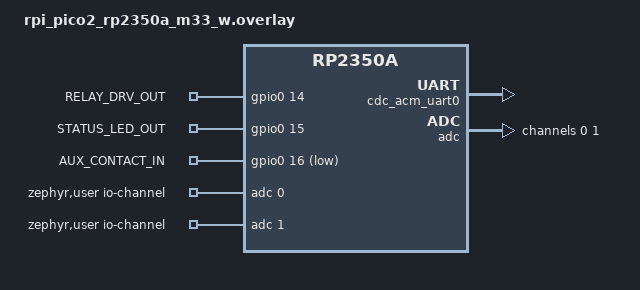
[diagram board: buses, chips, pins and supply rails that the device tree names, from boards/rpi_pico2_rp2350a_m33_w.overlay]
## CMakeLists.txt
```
cmake_minimum_required(VERSION 3.20.0)
find_package(Zephyr REQUIRED HINTS $ENV{ZEPHYR_BASE})
project(gridguard_firmware C)
target_sources(app PRIVATE
  src/main.c src/hal_adc_relay.c src/nvs_store.c src/usb_comms.c
  lib/gridguard_core/src/gg_plant.c lib/gridguard_core/src/gg_metrology.c
  lib/gridguard_core/src/gg_protection.c lib/gridguard_core/src/gg_relay_fsm.c
  lib/gridguard_core/src/gg_nilm.c lib/gridguard_core/src/gg_protocol.c)
target_include_directories(app PRIVATE lib/gridguard_core/include src)
```

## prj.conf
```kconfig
CONFIG_FPU=y
CONFIG_FPU_SHARING=y
CONFIG_PICOLIBC=y
CONFIG_PICOLIBC_IO_FLOAT=y
CONFIG_USB_DEVICE_STACK_NEXT=y
CONFIG_USBD_CDC_ACM_CLASS=y
CONFIG_SERIAL=y
CONFIG_UART_INTERRUPT_DRIVEN=y
CONFIG_UART_USE_RUNTIME_CONFIGURE=y
CONFIG_UART_LINE_CTRL=y
CONFIG_RING_BUFFER=y
CONFIG_GPIO=y
CONFIG_ADC=y
CONFIG_FLASH=y
CONFIG_FLASH_MAP=y
CONFIG_FLASH_PAGE_LAYOUT=y
CONFIG_NVS=y
CONFIG_CRC=y
CONFIG_THREAD_NAME=y
CONFIG_THREAD_STACK_INFO=y
CONFIG_INIT_STACKS=y
CONFIG_MAIN_STACK_SIZE=4096
CONFIG_SYSTEM_WORKQUEUE_STACK_SIZE=2048
CONFIG_CONSOLE=n
CONFIG_UART_CONSOLE=n
CONFIG_LOG=n
CONFIG_HEAP_MEM_POOL_SIZE=4096
CONFIG_CDC_ACM_SERIAL_INITIALIZE_AT_BOOT=n
```

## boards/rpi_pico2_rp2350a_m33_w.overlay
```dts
/ {
    chosen {
        
        
    };

    gridguard_gpios {
        compatible = "gpio-keys";
        relay_drv: relay_drv {
            gpios = <&gpio0 14 GPIO_ACTIVE_HIGH>;
            label = "RELAY_DRV_OUT";
        };
        status_led: status_led {
            gpios = <&gpio0 15 GPIO_ACTIVE_HIGH>;
            label = "STATUS_LED_OUT";
        };
        aux_contact: aux_contact {
            gpios = <&gpio0 16 (GPIO_PULL_UP | GPIO_ACTIVE_LOW)>;
            label = "AUX_CONTACT_IN";
        };
    };

    zephyr,user {
        io-channels = <&adc 0>, <&adc 1>;
    };
};

&zephyr_udc0 {
    cdc_acm_uart0: cdc_acm_uart0 {
        compatible = "zephyr,cdc-acm-uart";
    };
};

&adc {
    status = "okay";
    #address-cells = <1>;
    #size-cells = <0>;

    channel@0 {
        reg = <0>;
        zephyr,input-positive = <26>;
        zephyr,gain = "ADC_GAIN_1";
        zephyr,reference = "ADC_REF_INTERNAL";
        zephyr,acquisition-time = <ADC_ACQ_TIME_DEFAULT>;
        zephyr,resolution = <12>;
    };
    channel@1 {
        reg = <1>;
        zephyr,input-positive = <27>;
        zephyr,gain = "ADC_GAIN_1";
        zephyr,reference = "ADC_REF_INTERNAL";
        zephyr,acquisition-time = <ADC_ACQ_TIME_DEFAULT>;
        zephyr,resolution = <12>;
    };
};

&flash0 {
    partitions {
        compatible = "fixed-partitions";
        #address-cells = <1>;
        #size-cells = <1>;
        storage_partition: partition@3f0000 {
            label = "storage";
            reg = <0x003f0000 0x00010000>;
        };
    };
};
```

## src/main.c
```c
#include "gg_app.h"
#include <zephyr/kernel.h>
#include <zephyr/logging/log.h>
#include <zephyr/sys/atomic.h>
#include <math.h>
#include <string.h>
LOG_MODULE_REGISTER(gridguard,LOG_LEVEL_INF);

gg_app_state_t gg_app;
K_SEM_DEFINE(dsp_tick,0,1);K_SEM_DEFINE(relay_tick,0,1);
K_MSGQ_DEFINE(metrics_q,sizeof(gg_metrics_t),8,4);
typedef struct {gg_fault_code_t fault;gg_relay_state_t result;float value,threshold,source,load;uint32_t timestamp;} fault_event_t;
K_MSGQ_DEFINE(fault_q,sizeof(fault_event_t),8,4);
static struct k_timer cycle_timer;
static K_THREAD_STACK_DEFINE(dsp_stack,4096);static struct k_thread dsp_thread;
static K_THREAD_STACK_DEFINE(relay_stack,4096);static struct k_thread relay_thread;
static K_THREAD_STACK_DEFINE(nilm_stack,4096);static struct k_thread nilm_thread;
static K_THREAD_STACK_DEFINE(comms_stack,4096);static struct k_thread comms_thread;
static K_THREAD_STACK_DEFINE(nvs_stack,4096);static struct k_thread nvs_thread;
static void timer_expiry(struct k_timer *timer){ARG_UNUSED(timer);k_sem_give(&dsp_tick);k_sem_give(&relay_tick);}
static void dsp_entry(void *a,void *b,void *c){ARG_UNUSED(a);ARG_UNUSED(b);ARG_UNUSED(c);gg_adc_sample_t window[64];gg_metrics_t m;unsigned n;int rc;uint32_t start,elapsed;static unsigned stale_windows;
 while(1){k_sem_take(&dsp_tick,K_FOREVER);start=k_cycle_get_32();for(n=0;n<64;n++)window[n]=gg_plant_step(&gg_app.plant,NULL,NULL);memcpy(gg_app.waveform,window,sizeof(window));
  rc=gg_metrology_compute(window,&m);if(rc)continue;gg_app.metrics=m;gg_app.timestamp_ms=k_uptime_get_32();
  {unsigned clipped=0;int stale=1;for(n=0;n<64;n++){if(window[n].voltage_code==0||window[n].voltage_code==4095||window[n].current_code==0||window[n].current_code==4095)clipped++;if(n&&(window[n].voltage_code!=window[0].voltage_code||window[n].current_code!=window[0].current_code))stale=0;}stale_windows=stale?stale_windows+1:0;gg_app.fault=gg_protection_step(&gg_app.protection,&m,clipped<=8&&stale_windows<5);}
  if(gg_app.fault!=FAULT_NONE&&gg_app.relay.state==NORMAL_CLOSED){gg_app.trip_started_cycle=k_cycle_get_32();gg_relay_request_trip(&gg_app.relay,1);fault_event_t e={gg_app.fault,gg_app.relay.state,m.i_rms,12,0,0,gg_app.timestamp_ms};if(k_msgq_put(&fault_q,&e,K_NO_WAIT)!=0)gg_app.dropped_frames++;}
  if(k_msgq_put(&metrics_q,&m,K_NO_WAIT)!=0)gg_app.dropped_frames++;
  if(gg_app.relay.state==TRIP_FAILURE||gg_app.relay.state==CLOSE_FAILURE)gg_hal_status_led(1);
  elapsed=k_cycle_get_32()-start;gg_app.dsp_exec_us=k_cyc_to_us_floor32(elapsed);if(gg_app.dsp_exec_us>gg_app.max_dsp_us)gg_app.max_dsp_us=gg_app.dsp_exec_us;k_msleep(5);
 }}
static void relay_entry(void *a,void *b,void *c){ARG_UNUSED(a);ARG_UNUSED(b);ARG_UNUSED(c);float src=0,load=0;int aux=1,rc;gg_relay_state_t old;
 while(1){k_sem_take(&relay_tick,K_FOREVER);old=gg_app.relay.state;
  if(gg_app.feedback_mode<=FEEDBACK_HARDWARE_LOWSIDE){rc=gg_hal_feedback(&src,&load,&aux);if(rc){src=0;load=0;}}
  else {src=gg_app.feedback_mode==FEEDBACK_VIRTUAL_NO_SRC?0:12;
   if(gg_app.feedback_mode==FEEDBACK_VIRTUAL_WELDED)load=12;else load=gg_app.relay.coil_cmd?12:0;aux=1;}
  gg_relay_step(&gg_app.relay,20,src,load,aux);
  gg_hal_set_coil(gg_app.relay.coil_cmd);
  if(old!=gg_app.relay.state){if(gg_app.trip_started_cycle&&(gg_app.relay.state==PHYSICAL_DISCONNECT_CONFIRMED||gg_app.relay.state==TRIP_FAILURE||gg_app.relay.state==DISCONNECT_UNVERIFIED)){gg_app.trip_latency_us=k_cyc_to_us_floor32(k_cycle_get_32()-gg_app.trip_started_cycle);gg_app.trip_started_cycle=0;}if(gg_app.fault!=FAULT_NONE||gg_app.relay.state==PHYSICAL_DISCONNECT_CONFIRMED||gg_app.relay.state==TRIP_FAILURE){fault_event_t e={gg_app.fault,gg_app.relay.state,0,0,src,load,k_uptime_get_32()};(void)k_msgq_put(&fault_q,&e,K_NO_WAIT);}gg_comms_send_protection();}
 }}
static void nilm_entry(void *a,void *b,void *c){ARG_UNUSED(a);ARG_UNUSED(b);ARG_UNUSED(c);gg_cusum_t cusum;gg_metrics_t m; static gg_metrics_t history[10],capture[25];unsigned history_count=0,history_pos=0,capture_count=0,j;int event,was_capture;gg_cusum_init(&cusum);gg_nilm_tracker_init(&gg_app.nilm);memset(history,0,sizeof(history));
 while(1){if(k_msgq_get(&metrics_q,&m,K_FOREVER)!=0)continue;was_capture=cusum.capture>0;if(was_capture&&capture_count<25)capture[capture_count++]=m;event=gg_cusum_step(&cusum,m.p_w,m.q1_var);
  if(cusum.capture==25&&!was_capture)capture_count=0;
  if(event){gg_metrics_t pre={0},post={0};float features[10],peak=0,di1,dp,dq,ds;unsigned count=history_count<10?history_count:10;
   for(j=0;j<count;j++){const gg_metrics_t *x=&history[(history_pos+10-count+j)%10];pre.p_w+=x->p_w;pre.q1_var+=x->q1_var;pre.s_va+=x->s_va;pre.i_rms+=x->i_rms;pre.thd_i_pct+=x->thd_i_pct;for(unsigned h=0;h<6;h++)pre.harm_i_rms[h]+=x->harm_i_rms[h];}
   if(count){pre.p_w/=count;pre.q1_var/=count;pre.s_va/=count;pre.i_rms/=count;pre.thd_i_pct/=count;for(unsigned h=0;h<6;h++)pre.harm_i_rms[h]/=count;}
   {unsigned begin=event>0&&capture_count>8?capture_count-8:0;unsigned used=capture_count-begin;if(!used)used=1;for(j=0;j<capture_count&&j<15;j++){if(capture[j].i_rms>peak)peak=capture[j].i_rms;}for(j=begin;j<capture_count;j++){const gg_metrics_t *x=&capture[j];post.p_w+=x->p_w;post.q1_var+=x->q1_var;post.s_va+=x->s_va;post.i_rms+=x->i_rms;post.thd_i_pct+=x->thd_i_pct;for(unsigned h=0;h<6;h++)post.harm_i_rms[h]+=x->harm_i_rms[h];}post.p_w/=used;post.q1_var/=used;post.s_va/=used;post.i_rms/=used;post.thd_i_pct/=used;for(unsigned h=0;h<6;h++)post.harm_i_rms[h]/=used;}
   dp=post.p_w-pre.p_w;dq=post.q1_var-pre.q1_var;ds=post.s_va-pre.s_va;di1=post.harm_i_rms[0]-pre.harm_i_rms[0];features[0]=fabsf(dp);features[1]=dq;features[2]=fabsf(ds);features[3]=dp/fmaxf(hypotf(dp,dq),1);features[4]=(post.harm_i_rms[1]-pre.harm_i_rms[1])/fmaxf(di1,.05f);features[5]=(post.harm_i_rms[2]-pre.harm_i_rms[2])/fmaxf(di1,.05f);features[6]=(post.harm_i_rms[3]-pre.harm_i_rms[3])/fmaxf(di1,.05f);features[7]=((post.i_rms<0.05f?0.0f:post.thd_i_pct)-(pre.i_rms<0.05f?0.0f:pre.thd_i_pct))/100.0f;features[8]=fmaxf(peak-pre.i_rms,0)/fmaxf(fabsf(di1),.05f);features[9]=copysignf(fabsf(dq)/fmaxf(fabsf(dp),1),dq);
   if(event>0){gg_nilm_result_t r=gg_nilm_infer(features);gg_nilm_tracker_event(&gg_app.nilm,&r,1,fabsf(dp),.02f);}
   else {static const float pn[4]={1000.0f,75.0f,85.0f,250.0f},qn[4]={0.0f,57.0f,-18.0f,188.0f},i3n[4]={0.0f,0.016f,0.27f,0.11f};float di3=pre.harm_i_rms[1]-post.harm_i_rms[1];unsigned best=4;float error=INFINITY;for(j=0;j<4;j++)if(gg_app.nilm.state[j]){float d=fabsf((-dp)-pn[j])/40.0f+fabsf((-dq)-qn[j])/25.0f+fabsf(di3-i3n[j])/0.06f;if(d<error&&d<6.0f){error=d;best=j;}}if(best<4){gg_nilm_result_t r={0};r.class_id=best;r.distance=0;r.probability[best]=1;gg_nilm_tracker_event(&gg_app.nilm,&r,0,0,.02f);}else gg_app.nilm.unknown_power_w=fmaxf(0,post.p_w);}
   capture_count=0;
  }
  if(!cusum.capture){history[history_pos]=m;history_pos=(history_pos+1)%10;if(history_count<10)history_count++;}
 }}
static void comms_entry(void *a,void *b,void *c){ARG_UNUSED(a);ARG_UNUSED(b);ARG_UNUSED(c);while(1){static unsigned led_cnt=0;if(++led_cnt%10==0)gg_hal_status_led((led_cnt/10)&1);gg_comms_rx_task();gg_comms_send_telemetry();k_sleep(K_MSEC(50));}}
static void nvs_entry(void *a,void *b,void *c){ARG_UNUSED(a);ARG_UNUSED(b);ARG_UNUSED(c);fault_event_t e;while(1){if(k_msgq_get(&fault_q,&e,K_FOREVER)==0)(void)gg_store_fault(e.fault,e.result,e.value,e.threshold,e.source,e.load,e.timestamp);}}
int main(void){int rc,hal_rc;
 memset(&gg_app,0,sizeof(gg_app));gg_app.feedback_mode=FEEDBACK_VIRTUAL_OK;gg_relay_init(&gg_app.relay,(gg_feedback_mode_t)gg_app.feedback_mode);gg_app.relay.aux_enabled=0;gg_protection_init(&gg_app.protection);gg_plant_init(&gg_app.plant,42);gg_metrology_init();
 hal_rc=gg_hal_init();if(hal_rc)LOG_ERR("HAL initialization failed: %d",hal_rc);gg_hal_set_coil(0);gg_hal_status_led(1);
 rc=gg_store_init();if(rc)LOG_ERR("NVS initialization failed: %d",rc);
 if(gg_app.relay.state==BOOT_SAFE_OPEN&&!gg_store_has_latched_fault())gg_relay_self_test_complete(&gg_app.relay,rc==0&&hal_rc==0);
 (void)gg_comms_init();
 k_sleep(K_MSEC(500));
 k_thread_create(&dsp_thread,dsp_stack,K_THREAD_STACK_SIZEOF(dsp_stack),dsp_entry,NULL,NULL,NULL,3,K_FP_REGS,K_NO_WAIT);k_thread_name_set(&dsp_thread,"gg_dsp_prot");
 k_thread_create(&relay_thread,relay_stack,K_THREAD_STACK_SIZEOF(relay_stack),relay_entry,NULL,NULL,NULL,3,K_FP_REGS,K_NO_WAIT);k_thread_name_set(&relay_thread,"gg_relay_ver");
 k_thread_create(&nilm_thread,nilm_stack,K_THREAD_STACK_SIZEOF(nilm_stack),nilm_entry,NULL,NULL,NULL,3,K_FP_REGS,K_NO_WAIT);k_thread_name_set(&nilm_thread,"gg_nilm");
 k_thread_create(&comms_thread,comms_stack,K_THREAD_STACK_SIZEOF(comms_stack),comms_entry,NULL,NULL,NULL,3,K_FP_REGS,K_NO_WAIT);k_thread_name_set(&comms_thread,"gg_comms");
 k_thread_create(&nvs_thread,nvs_stack,K_THREAD_STACK_SIZEOF(nvs_stack),nvs_entry,NULL,NULL,NULL,8,0,K_NO_WAIT);k_thread_name_set(&nvs_thread,"gg_nvs_log");
 k_timer_init(&cycle_timer,timer_expiry,NULL);k_timer_start(&cycle_timer,K_MSEC(20),K_MSEC(20));LOG_INF("GridGuard internal-plant mode ready");return 0;
}
```

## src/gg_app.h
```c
#ifndef GG_APP_H
#define GG_APP_H
#include <stdint.h>
#include "gg_metrology.h"
#include "gg_nilm.h"
#include "gg_protection.h"
#include "gg_relay_fsm.h"
#include "gg_plant.h"
typedef struct { gg_metrics_t metrics; gg_relay_fsm_t relay; gg_protection_t protection; gg_plant_t plant; gg_nilm_tracker_t nilm; gg_adc_sample_t waveform[64]; gg_fault_code_t fault; uint32_t timestamp_ms,dsp_exec_us,max_dsp_us,dropped_frames,trip_started_cycle,trip_latency_us; uint16_t seq; uint8_t feedback_mode; } gg_app_state_t;
extern gg_app_state_t gg_app;
int gg_hal_init(void);
int gg_hal_feedback(float *source_v,float *load_v,int *aux_high);
void gg_hal_set_coil(int enabled);
void gg_hal_status_led(int enabled);
int gg_store_init(void);
int gg_store_has_latched_fault(void);
void gg_store_send_faults(uint16_t start,uint16_t count);
uint16_t gg_store_record_count(void);
int gg_store_fault(gg_fault_code_t fault,gg_relay_state_t result,float trigger,float threshold,float source,float load,uint32_t ts);
int gg_comms_init(void);
void gg_comms_send_hello(void);
void gg_comms_send_telemetry(void);
void gg_comms_send_protection(void);
void gg_comms_send_waveform(void);
void gg_comms_send_health(void);
void gg_comms_send_fault_record(uint32_t id,uint32_t ts,uint8_t fault,uint8_t result,uint8_t coil,uint8_t aux,float trigger,float threshold,float source,float load,uint16_t verify,uint32_t crc);
void gg_comms_send_nilm(void);
void gg_comms_rx_task(void);
#endif
```

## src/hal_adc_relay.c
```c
#include "gg_app.h"
#include <zephyr/device.h>
#include <zephyr/devicetree.h>
#include <zephyr/drivers/adc.h>
#include <zephyr/drivers/gpio.h>
#include <zephyr/sys/util.h>

#define ADC_SOURCE_SPEC ADC_DT_SPEC_GET_BY_IDX(DT_PATH(zephyr_user), 0)
#define ADC_LOAD_SPEC ADC_DT_SPEC_GET_BY_IDX(DT_PATH(zephyr_user), 1)
static const struct gpio_dt_spec relay_gpio=GPIO_DT_SPEC_GET(DT_NODELABEL(relay_drv),gpios);
static const struct gpio_dt_spec status_gpio=GPIO_DT_SPEC_GET(DT_NODELABEL(status_led),gpios);
static const struct gpio_dt_spec aux_gpio=GPIO_DT_SPEC_GET(DT_NODELABEL(aux_contact),gpios);
static const struct adc_dt_spec source_adc=ADC_SOURCE_SPEC;
static const struct adc_dt_spec load_adc=ADC_LOAD_SPEC;
static int read_pin(const struct adc_dt_spec *spec,int32_t *mv){
 int16_t raw=0;int32_t converted;struct adc_sequence seq={.buffer=&raw,.buffer_size=sizeof(raw),.resolution=12};int rc;
 rc=adc_sequence_init_dt(spec,&seq);if(rc)return rc;rc=adc_read(spec->dev,&seq);if(rc)return rc;
 converted=raw;rc=adc_raw_to_millivolts_dt(spec,&converted);if(rc<0)return rc;*mv=converted;return 0;
}
int gg_hal_init(void){int rc;
 if(!gpio_is_ready_dt(&relay_gpio)||!gpio_is_ready_dt(&status_gpio)||!gpio_is_ready_dt(&aux_gpio))return -ENODEV;
 rc=gpio_pin_configure_dt(&relay_gpio,GPIO_OUTPUT_INACTIVE);if(rc)return rc;
 rc=gpio_pin_configure_dt(&status_gpio,GPIO_OUTPUT_INACTIVE);if(rc)return rc;
 rc=gpio_pin_configure_dt(&aux_gpio,GPIO_INPUT);if(rc)return rc;
 if(!adc_is_ready_dt(&source_adc)||!adc_is_ready_dt(&load_adc))return -ENODEV;
 rc=adc_channel_setup_dt(&source_adc);if(rc)return rc;return adc_channel_setup_dt(&load_adc);
}
int gg_hal_feedback(float *source,float *load,int *aux_high){int32_t s,l,aux,rc;
 rc=read_pin(&source_adc,&s);if(rc)return rc;rc=read_pin(&load_adc,&l);if(rc)return rc;
 *source=(float)s*4.3f/1000.0f;*load=(float)l*4.3f/1000.0f;
 if(gg_app.feedback_mode==FEEDBACK_HARDWARE_LOWSIDE)*load=*source-*load;
 aux=gpio_pin_get_raw(aux_gpio.port,aux_gpio.pin);if(aux<0)return aux;*aux_high=aux!=0;return 0;
}
void gg_hal_set_coil(int enabled){gpio_pin_set_dt(&relay_gpio,enabled?1:0);}
void gg_hal_status_led(int enabled){gpio_pin_set_dt(&status_gpio,enabled?1:0);}
```

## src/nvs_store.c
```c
#include "gg_app.h"
#include <zephyr/device.h>
#include <zephyr/devicetree.h>
#include <zephyr/drivers/flash.h>
#include <zephyr/storage/flash_map.h>
#include <zephyr/fs/nvs.h>
#include <zephyr/sys/crc.h>
#include <stddef.h>
#include <string.h>

#define GG_META_KEY 0x0001
#define GG_LOG_BASE 0x1000
struct __packed fault_record {uint32_t record_id,ts_ms;uint8_t fault_code,relay_result,coil_cmd,aux_state;float trigger,threshold,source,load;uint16_t verify_ms;uint32_t crc32;uint8_t reserved[14];};
BUILD_ASSERT(sizeof(struct fault_record)==48,"fault record wire/storage size must stay 48 bytes");
static struct nvs_fs fs;
static uint32_t record_count;
static bool mounted;
static bool recovered_fault;
static bool record_valid(const struct fault_record *rec){return rec->record_id!=0&&rec->crc32==crc32_ieee((const uint8_t *)rec,offsetof(struct fault_record,crc32));}
int gg_store_init(void){int rc;struct flash_pages_info page;uint32_t latest=0;int i;
 fs.flash_device=FIXED_PARTITION_DEVICE(storage_partition);fs.offset=FIXED_PARTITION_OFFSET(storage_partition);
 if(!device_is_ready(fs.flash_device))return -ENODEV;
 rc=flash_get_page_info_by_offs(fs.flash_device,fs.offset,&page);if(rc)return rc;
 fs.sector_size=page.size;fs.sector_count=0x10000u/fs.sector_size;
 rc=nvs_mount(&fs);if(rc)return rc;mounted=true;
 if(nvs_read(&fs,GG_META_KEY,&record_count,sizeof(record_count))!=(ssize_t)sizeof(record_count))record_count=0;
 for(i=0;i<64;i++){struct fault_record rec;ssize_t n=nvs_read(&fs,GG_LOG_BASE+i,&rec,sizeof(rec));if(n==(ssize_t)sizeof(rec)&&record_valid(&rec)&&rec.record_id>latest)latest=rec.record_id;}
 if(latest>record_count)record_count=latest;
 if(record_count){struct fault_record latest_rec;uint16_t key=(uint16_t)(GG_LOG_BASE+(record_count-1)%64);if(nvs_read(&fs,key,&latest_rec,sizeof(latest_rec))==(ssize_t)sizeof(latest_rec)&&record_valid(&latest_rec)&&(latest_rec.relay_result==TRIP_FAILURE||latest_rec.fault_code!=FAULT_NONE)){gg_app.relay.state=BOOT_SAFE_OPEN;gg_app.relay.coil_cmd=0;gg_app.fault=(gg_fault_code_t)latest_rec.fault_code;recovered_fault=true;}}
 return 0;
}
int gg_store_has_latched_fault(void){return recovered_fault;}
uint16_t gg_store_record_count(void){return (uint16_t)MIN(record_count,65535);}
int gg_store_fault(gg_fault_code_t fault,gg_relay_state_t result,float trigger,float threshold,float source,float load,uint32_t ts){struct fault_record rec;uint16_t key;ssize_t n;
 if(!mounted)return -ENODEV;
 memset(&rec,0,sizeof(rec));rec.record_id=++record_count;rec.ts_ms=ts;rec.fault_code=(uint8_t)fault;rec.relay_result=(uint8_t)result;rec.coil_cmd=(uint8_t)gg_app.relay.coil_cmd;rec.aux_state=0;rec.trigger=trigger;rec.threshold=threshold;rec.source=source;rec.load=load;rec.verify_ms=(uint16_t)MIN(gg_app.relay.elapsed_ms,65535);rec.crc32=crc32_ieee((const uint8_t *)&rec,offsetof(struct fault_record,crc32));
 key=(uint16_t)(GG_LOG_BASE+(rec.record_id-1)%64);n=nvs_write(&fs,key,&rec,sizeof(rec));if(n<0)return (int)n;n=nvs_write(&fs,GG_META_KEY,&record_count,sizeof(record_count));if(n<0)return (int)n;gg_comms_send_fault_record(rec.record_id,rec.ts_ms,rec.fault_code,rec.relay_result,rec.coil_cmd,rec.aux_state,rec.trigger,rec.threshold,rec.source,rec.load,rec.verify_ms,rec.crc32);return 0;
}
void gg_store_send_faults(uint16_t start,uint16_t count){uint32_t first,last,id;if(!mounted||count==0)return;first=(uint32_t)start;if(first>=record_count)return;last=MIN(record_count,first+MIN(count,64));for(id=first;id<last;id++){struct fault_record rec;uint16_t key=(uint16_t)(GG_LOG_BASE+id%64);if(nvs_read(&fs,key,&rec,sizeof(rec))==(ssize_t)sizeof(rec)&&record_valid(&rec))gg_comms_send_fault_record(rec.record_id,rec.ts_ms,rec.fault_code,rec.relay_result,rec.coil_cmd,rec.aux_state,rec.trigger,rec.threshold,rec.source,rec.load,rec.verify_ms,rec.crc32);}}
```

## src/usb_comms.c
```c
#include "gg_app.h"
#include "gg_protocol.h"
#include <zephyr/device.h>
#include <zephyr/drivers/uart.h>
#include <zephyr/usb/usbd.h>
#include <zephyr/sys/ring_buffer.h>
#include <zephyr/kernel.h>
#include <string.h>

static const struct device *const uart = DEVICE_DT_GET(DT_NODELABEL(cdc_acm_uart0));

USBD_DEVICE_DEFINE(gg_usbd, DEVICE_DT_GET(DT_NODELABEL(zephyr_udc0)), 0x2fe3, 0x0001);
USBD_DESC_LANG_DEFINE(gg_lang);
USBD_DESC_MANUFACTURER_DEFINE(gg_mfr, "GridGuard");
USBD_DESC_PRODUCT_DEFINE(gg_prod, "GridGuard Pico 2 W");
USBD_DESC_CONFIG_DEFINE(gg_fs_cfg_desc, "FS Configuration");
USBD_CONFIGURATION_DEFINE(gg_fs_config, USB_SCD_SELF_POWERED, 125, &gg_fs_cfg_desc);

RING_BUF_DECLARE(rx_ring, 512);
RING_BUF_DECLARE(tx_ring, 2048);
static uint8_t rx_encoded[GG_FRAME_MAX + 4], rx_payload[GG_FRAME_MAX];
static size_t rx_used;
static uint32_t crc_errors;
static unsigned tx_ticks;
K_MUTEX_DEFINE(tx_lock);

static void cdc_irq_handler(const struct device *dev, void *user_data) {
    ARG_UNUSED(user_data);
    while (uart_irq_update(dev) && uart_irq_is_pending(dev)) {
        if (uart_irq_rx_ready(dev)) {
            uint8_t buf[64];
            int n = uart_fifo_read(dev, buf, sizeof(buf));
            if (n > 0) {
                ring_buf_put(&rx_ring, buf, (uint32_t)n);
            }
        }
        if (uart_irq_tx_ready(dev)) {
            uint8_t buf[64];
            uint32_t len = ring_buf_get(&tx_ring, buf, sizeof(buf));
            if (len > 0) {
                (void)uart_fifo_fill(dev, buf, (int)len);
            } else {
                uart_irq_tx_disable(dev);
            }
        }
    }
}

static void send_frame(uint8_t type, const void *data, uint16_t len) {
    uint8_t wire[GG_FRAME_MAX + 8];
    size_t n;
    uint32_t dtr = 0; if (!device_is_ready(uart)) return; uart_line_ctrl_get(uart, UART_LINE_CTRL_DTR, &dtr); if (!dtr) return;
    k_mutex_lock(&tx_lock, K_FOREVER);
    n = gg_frame_encode(type, gg_app.seq++, (const uint8_t *)data, len, wire, sizeof(wire));
    if (ring_buf_space_get(&tx_ring) < n) ring_buf_reset(&tx_ring);
    ring_buf_put(&tx_ring, wire, (uint32_t)n);
    uart_irq_tx_enable(uart);
    k_mutex_unlock(&tx_lock);
}

static uint16_t read16(const uint8_t *p) { return (uint16_t)(p[0] | ((uint16_t)p[1] << 8)); }
static float readf(const uint8_t *p) { float x; memcpy(&x, p, sizeof(x)); return x; }

static void ack(const gg_frame_header_t *h, uint8_t status) {
    uint8_t p[4] = {(uint8_t)h->seq, (uint8_t)(h->seq >> 8), h->msg_type, status};
    send_frame(0x15, p, sizeof(p));
}

static void handle_command(const gg_frame_header_t *h, const uint8_t *p) {
    uint8_t status = 0;
    switch (h->msg_type) {
    case 0x10:
        if (h->payload_len != 2 || p[0] >= 4 || p[1] > 1) status = 2;
        else gg_plant_set_appliance(&gg_app.plant, p[0], p[1]);
        break;
    case 0x11:
        if (h->payload_len != 5 || p[0] > 7) status = 2;
        else gg_plant_set_fault(&gg_app.plant, (gg_fault_scenario_t)p[0], readf(p + 1));
        break;
    case 0x12: {
        float src = 0, load = 0;
        int aux = 0;
        uint8_t force = h->payload_len == 1 ? p[0] : 2;
        if (force > 1) status = 2;
        else {
            if (gg_app.feedback_mode <= 1) (void)gg_hal_feedback(&src, &load, &aux);
            else src = gg_app.feedback_mode == FEEDBACK_VIRTUAL_NO_SRC ? 0 : 12;
            if (force && gg_app.fault != FAULT_NONE) {
                gg_app.fault = FAULT_NONE;
                gg_app.protection.overcurrent_count = 0;
                gg_app.protection.thermal = 0;
            }
            if (!gg_relay_request_reset(&gg_app.relay, gg_app.fault == FAULT_NONE, src)) status = 1;
        }
        break;
    }
    case 0x13:
        if (h->payload_len != 1 || p[0] > 4) status = 2;
        else gg_app.feedback_mode = p[0];
        break;
    case 0x14:
        if (h->payload_len != 4) status = 2;
        else gg_store_send_faults(read16(p), read16(p + 2));
        break;
    default:
        status = 2;
        break;
    }
    ack(h, status);
}

static void receive_byte(uint8_t byte) {
    gg_frame_header_t h;
    int rc;
    if (byte) {
        if (rx_used < sizeof(rx_encoded)) rx_encoded[rx_used++] = byte;
        else rx_used = 0;
        return;
    }
    if (!rx_used) return;
    rc = gg_frame_decode(rx_encoded, rx_used, &h, rx_payload, sizeof(rx_payload));
    rx_used = 0;
    if (rc) { crc_errors++; return; }
    if (h.msg_type >= 0x10 && h.msg_type <= 0x14) handle_command(&h, rx_payload);
}

int gg_comms_init(void) {
    int rc;
    if (!device_is_ready(uart)) return -ENODEV;
    rc = usbd_add_descriptor(&gg_usbd, &gg_lang);
    if (rc) return rc;
    rc = usbd_add_descriptor(&gg_usbd, &gg_mfr);
    if (rc) return rc;
    rc = usbd_add_descriptor(&gg_usbd, &gg_prod);
    if (rc) return rc;
    rc = usbd_add_configuration(&gg_usbd, USBD_SPEED_FS, &gg_fs_config);
    if (rc) return rc;
    rc = usbd_register_all_classes(&gg_usbd, USBD_SPEED_FS, 1, NULL);
    if (rc) return rc;
    usbd_device_set_code_triple(&gg_usbd, USBD_SPEED_FS, USB_BCC_MISCELLANEOUS, 0x02, 0x01);
    rc = usbd_init(&gg_usbd);
    if (rc) return rc;
    rc = usbd_enable(&gg_usbd);
    if (rc) return rc;
    uart_irq_callback_user_data_set(uart, cdc_irq_handler, NULL);
    uart_irq_rx_enable(uart);
    return 0;
}

void gg_comms_rx_task(void) {
    uint8_t b;
    while (ring_buf_get(&rx_ring, &b, 1) == 1) receive_byte(b);
}

void gg_comms_send_telemetry(void) {
    gg_msg_telemetry_t t;
    unsigned i;
    memset(&t, 0, sizeof(t));
    t.ts_ms = gg_app.timestamp_ms;
    t.v_rms = gg_app.metrics.v_rms;
    t.i_rms = gg_app.metrics.i_rms;
    t.p_w = gg_app.metrics.p_w;
    t.q1_var = gg_app.metrics.q1_var;
    t.s_va = gg_app.metrics.s_va;
    t.pf = gg_app.metrics.pf;
    t.freq_hz = gg_app.metrics.freq_hz;
    t.thd_i_pct = gg_app.metrics.thd_i_pct;
    t.thd_v_pct = gg_app.metrics.thd_v_pct;
    t.energy_wh = gg_app.metrics.energy_wh;
    t.thermal_pct = gg_app.protection.thermal * 100.0f;
    for (i = 0; i < 5; i++) t.harm_i_rms[i] = gg_app.metrics.harm_i_rms[i];
    send_frame(0x02, &t, sizeof(t));
    if (++tx_ticks % 4 == 0) { gg_comms_send_protection(); gg_comms_send_waveform(); }
    if (tx_ticks % 10 == 0) gg_comms_send_nilm();
    if (tx_ticks % 20 == 0) gg_comms_send_health();
    if (tx_ticks % 40 == 0) gg_comms_send_hello();
}

void gg_comms_send_protection(void) {
    gg_msg_protection_t p;
    float src = 0, load = 0;
    int aux = 0;
    memset(&p, 0, sizeof(p));
    if (gg_app.feedback_mode <= 1) (void)gg_hal_feedback(&src, &load, &aux);
    else {
        src = gg_app.feedback_mode == FEEDBACK_VIRTUAL_NO_SRC ? 0 : 12;
        load = gg_app.feedback_mode == FEEDBACK_VIRTUAL_WELDED ? 12 : (gg_app.relay.coil_cmd ? 12 : 0);
    }
    p.ts_ms = k_uptime_get_32();
    p.relay_state = (uint8_t)gg_app.relay.state;
    p.active_fault = (uint8_t)gg_app.fault;
    p.coil_cmd = (uint8_t)gg_app.relay.coil_cmd;
    p.aux_state = (uint8_t)aux;
    p.feedback_mode = gg_app.feedback_mode;
    p.verify_samples = (uint8_t)gg_app.relay.samples;
    p.v_src_v = src;
    p.v_load_v = load;
    p.trip_latency_us = gg_app.trip_latency_us;
    send_frame(0x05, &p, sizeof(p));
}

void gg_comms_send_waveform(void) {
    gg_msg_waveform_t w;
    unsigned i;
    w.ts_ms = gg_app.timestamp_ms;
    for (i = 0; i < 64; i++) {
        w.v_samples[i] = (int16_t)(((int)gg_app.waveform[i].voltage_code - 2048) * 4000 / 2047);
        w.i_samples[i] = (int16_t)(((int)gg_app.waveform[i].current_code - 2048) * 4000 / 2047);
    }
    send_frame(0x03, &w, sizeof(w));
}

void gg_comms_send_nilm(void) {
    gg_msg_nilm_state_t n;
    unsigned i;
    memset(&n, 0, sizeof(n));
    n.ts_ms = gg_app.timestamp_ms;
    n.last_event_id = gg_app.nilm.last_event_id;
    n.last_event_type = gg_app.nilm.last_event_type;
    for (i = 0; i < 4; i++) {
        if (gg_app.nilm.state[i]) n.active_mask |= (uint8_t)(1u << i);
        n.est_power_w[i] = gg_app.nilm.est_power_w[i];
        n.confidence[i] = gg_app.nilm.confidence[i];
    }
    n.unknown_power_w = gg_app.nilm.unknown_power_w;
    n.last_mahalanobis = gg_app.nilm.mahalanobis;
    send_frame(0x04, &n, sizeof(n));
}

void gg_comms_send_health(void) {
    gg_msg_health_t h;
    size_t unused = 0;
    memset(&h, 0, sizeof(h));
    h.ts_ms = k_uptime_get_32();
    h.dsp_exec_us = gg_app.dsp_exec_us;
    h.max_dsp_us = gg_app.max_dsp_us;
    h.dropped_frames = gg_app.dropped_frames;
    h.uart_crc_err = crc_errors;
    h.nvs_records = gg_store_record_count();
    if (k_thread_stack_space_get(k_current_get(), &unused) == 0) h.free_stack_min = (uint16_t)MIN(unused, UINT16_MAX);
    send_frame(0x07, &h, sizeof(h));
}

void gg_comms_send_fault_record(uint32_t id, uint32_t ts, uint8_t fault, uint8_t result, uint8_t coil, uint8_t aux, float trigger, float threshold, float source, float load, uint16_t verify, uint32_t crc) {
    gg_msg_fault_record_t r = {id, ts, fault, result, coil, aux, trigger, threshold, source, load, verify, crc};
    send_frame(0x06, &r, sizeof(r));
}

void gg_comms_send_hello(void) {
    gg_msg_hello_t hello = {1, 0, 2, gg_app.feedback_mode, k_uptime_get_32()};
    send_frame(0x01, &hello, sizeof(hello));
}
```
